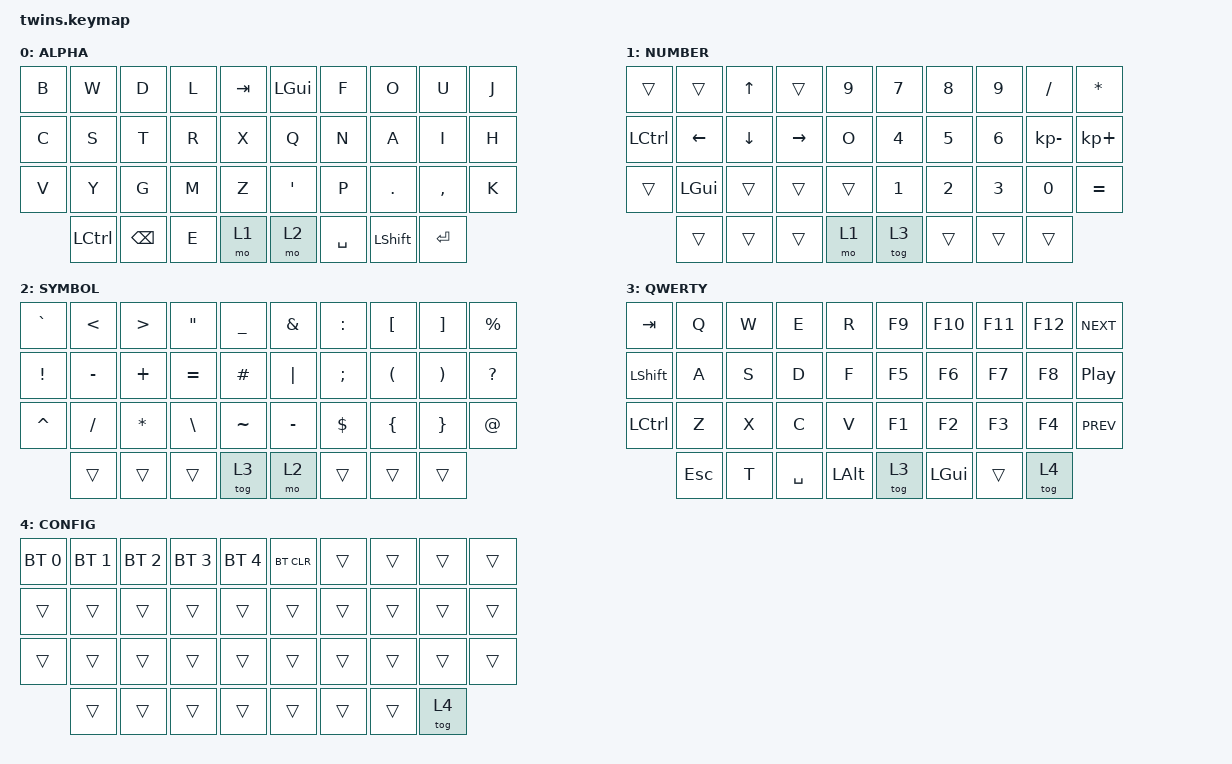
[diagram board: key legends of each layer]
/*
 * Copyright (c) 2020 The ZMK Contributors
 *
 * SPDX-License-Identifier: MIT
 */

#include <behaviors.dtsi>
#include <dt-bindings/zmk/keys.h>
#include <dt-bindings/zmk/bt.h>

/ {
        keymap {
           compatible = "zmk,keymap";

                default_layer { 
                display-name = "ALPHA";
//
// ┌─────┬─────┬─────┬─────┬─────┐          ┌─────┬─────┬─────┬─────┬─────┐   
// │  b  │  w  │  d  │  l  │ TAB │          │ WIN │  f  │  o  │  u  │  j  │    
// │  c  │  s  │  t  │  r  │  x  │          │  q  │  n  │  a  │  i  │  h  │
// │  v  │  y  │  g  │  m  |  z  │          │  '  │  p  │  .  │  ,  │  k  │    
// └─────│ CTL │BKSPC│  e  | NUM │          │ SYM │ SPC | SFT |ENTER│─────┘    
//       └─────┴─────┴─────┴─────┘          └─────┴─────┴─────┴─────┘  


                        bindings = <
   &kp B  &kp W     &kp D     &kp L &kp TAB          &kp LGUI  &kp F      &kp O      &kp U      &kp J
   &kp C  &kp S     &kp T     &kp R &kp X            &kp Q     &kp N      &kp A      &kp I      &kp H
   &kp V  &kp Y     &kp G     &kp M &kp Z            &kp APOS  &kp P      &kp DOT    &kp COMMA  &kp K
          &kp LCTRL &kp BSPC  &kp E &mo 1           &mo 2     &kp SPACE   &kp LSHFT  &kp ENTER
                        >;
                };

                number_layer {
                        display-name = "NUMBER";
//
//
// ┌─────┬─────┬─────┬─────┬─────┐          ┌─────┬─────┬─────┬─────┬─────┐   
// │     │     │  🡅  │     │  9  │          │  7  │  8  │  9  │  /  │  *  │    
// │ CTL │  🡄  │  🡇  │  🡆  │  o  │          │  4  │  5  │  6  │  -  │  +  │
// │     │ WIN │     │     │     │          │  1  │  2  │  3  │  0  │  =  │    
// └─────│     │     │     │     │          │ TOG │     │     │     │─────┘    
//       └─────┴─────┴─────┴─────┘          └─────┴─────┴─────┴─────┘  
//
                        bindings = <
   &trans     &trans    &kp UP    &trans     &kp N9         &kp N7  &kp N8  &kp N9  &kp FSLH      &kp ASTERISK
   &kp LCTRL  &kp LEFT  &kp DOWN  &kp RIGHT  &kp O          &kp N4  &kp N5  &kp N6  &kp KP_MINUS  &kp KP_PLUS
   &trans     &kp LGUI  &trans    &trans     &trans         &kp N1  &kp N2  &kp N3  &kp N0     &kp EQUAL
              &trans    &trans    &trans      &mo 1         &tog 3      &trans     &trans     &trans
                       >;
                };


                symbol-layer {
                        display-name = "SYMBOL";
//
// ┌─────┬─────┬─────┬─────┬─────┐          ┌─────┬─────┬─────┬─────┬─────┐   
// │  `  │  <  │  >  │  "  │  _  │          │  &  │  :  │  [  │  ]  │  %  │    
// │  !  │  -  │  +  │  =  │  #  │          │ "|" │  ;  │  (  │  )  │  ?  │    
// │  ^  │  /  │  *  │  \  │  ~  │          │  -  │  $  │  {  │  }  │  @  │    
// └─────│     │     │     │ TOG │          │     │     │     │     │─────┘    
//       └─────┴─────┴─────┴─────┘          └─────┴─────┴─────┴─────┘

//
                        bindings = <
   &kp GRAVE  &kp LT     &kp GT        &kp DQT    &kp UNDER            &kp AMPS  &kp COLON   &kp LBKT  &kp RBKT  &kp PRCNT
   &kp EXCL   &kp MINUS  &kp PLUS      &kp EQUAL  &kp HASH             &kp PIPE  &kp SEMI  &kp LPAR  &kp RPAR  &kp QMARK
   &kp CARET  &kp FSLH   &kp ASTERISK  &kp BSLH   &kp TILDE            &kp MINUS &kp DLLR   &kp LBRC  &kp RBRC  &kp AT
              &trans     &trans        &trans     &tog 3               &mo 2     &trans     &trans    &trans
                        >;

                };
                game_layer {
                        display-name = "QWERTY";
//
// ┌─────┬─────┬─────┬─────┬─────┐          ┌─────┬─────┬─────┬─────┬─────┐   
// │ TAB │  q  │  w  │  e  │  r  │          │ F9  │ F10 │ F11 │ F12 │ nxt │    
// │ SFT │  a  │  s  │  d  │  f  │          │ F5  │ F6  │ F7  │ F8  │pl/ps│    
// │ CTL │  z  │  x  │  c  │  v  │          │ F1  │ F2  │ F3  │ F4  │ prv │    
// └─────│ ESC │  T  │ SPC │ ALT │          │ TOG │ WIN │     │ BT  │─────┘    
//       └─────┴─────┴─────┴─────┘          └─────┴─────┴─────┴─────┘
//
                      bindings = <
   &kp TAB    &kp Q   &kp W    &kp E     &kp R            &kp F9  &kp F10  &kp F11  &kp F12  &kp C_NEXT
   &kp LSHFT  &kp A   &kp S    &kp D     &kp F            &kp F5  &kp F6   &kp F7   &kp F8   &kp C_PP
   &kp LCTRL  &kp Z   &kp X    &kp C     &kp V            &kp F1  &kp F2   &kp F3   &kp F4   &kp C_PREV
              &kp ESC &kp T    &kp SPACE &kp LALT         &tog 3  &kp LGUI   &trans   &tog 4
                      >;
             };
                bt_config {
                        display-name = "CONFIG";

//
// ┌─────┬─────┬─────┬─────┬─────┐          ┌─────┬─────┬─────┬─────┬─────┐   
// │ dv1 │ dv2 │ dv3 │ dv4 │ dv5 │          │DLALL│     │     │     │     │    
// │     │     │     │     │     │          │     │     │     │     │     │
// │     │     │     │     │     │          │     │     │     │     │     │    
// └─────│     │     │     │     │          │     │     │     │leave│─────┘    
//       └─────┴─────┴─────┴─────┘          └─────┴─────┴─────┴─────┘
//

                        bindings = <
    &bt BT_SEL 0   &bt BT_SEL 1   &bt BT_SEL 2   &bt BT_SEL 3   &bt BT_SEL 4           &bt BT_CLR   &trans       &trans       &trans       &trans
    &trans         &trans         &trans         &trans         &trans                 &trans       &trans       &trans       &trans       &trans
    &trans         &trans         &trans         &trans         &trans                 &trans       &trans       &trans       &trans       &trans
                   &trans         &trans         &trans         &trans                 &trans       &trans       &trans       &tog 4
                        >;
                };

        };
};
